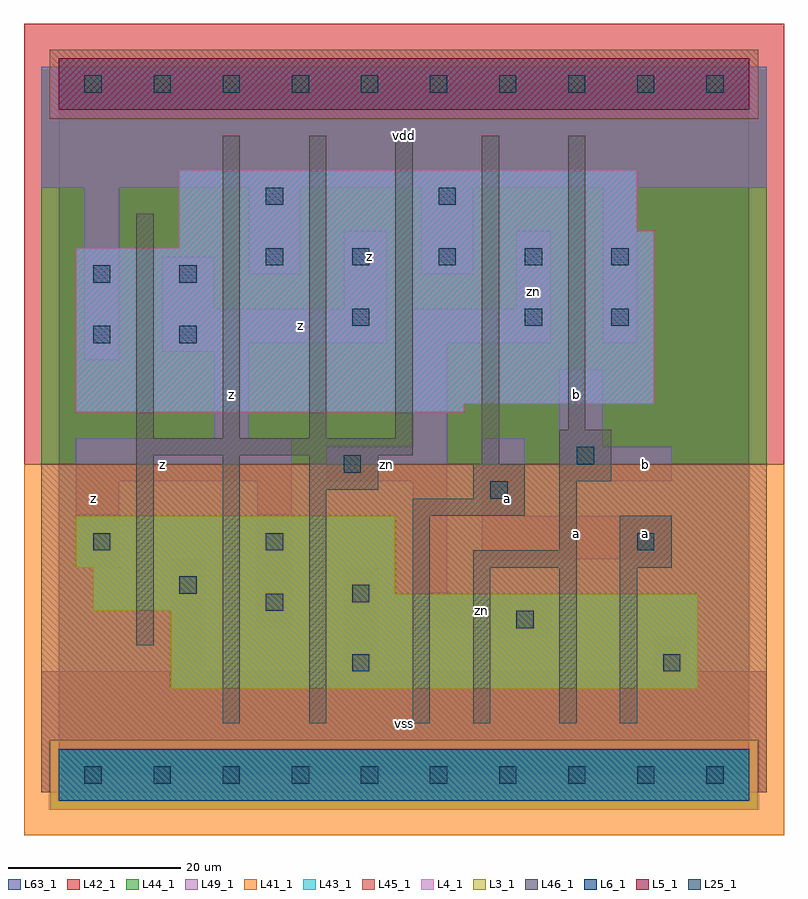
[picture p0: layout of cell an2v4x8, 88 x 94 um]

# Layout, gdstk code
import gdstk
lib = gdstk.Library(unit=1e-6, precision=1e-09)
def R(c, l, rs):  # rectangles x0, y0, x1, y1
    for r in rs: c.add(gdstk.rectangle(r[:2], r[2:], *l))
def A(c, l, x, y, w, h, nx, ny, dx, dy):  # array of equal rectangles
    R(c, l, [(x+i*dx, y+j*dy, x+i*dx+w, y+j*dy+h) for i in range(nx) for j in range(ny)])
L3_1 = (3, 1)
L4_1 = (4, 1)
L5_1 = (5, 1)
L6_1 = (6, 1)
L25_1 = (25, 1)
L41_1 = (41, 1)
L42_1 = (42, 1)
L43_1 = (43, 1)
L44_1 = (44, 1)
L45_1 = (45, 1)
L46_1 = (46, 1)
L49_1 = (49, 1)
L63_1 = (63, 1)

an2v4x8 = lib.new_cell('an2v4x8')
R(an2v4x8, L3_1, [(13,10,74,19), (4,19,74,21), (4,21,39,24), (2,24,39,30)])
R(an2v4x8, L4_1, [(2,42,47,43), (2,43,69,61), (14,61,69,63), (14,63,67,70)])
R(an2v4x8, L5_1, [(0,77,80,83)])
R(an2v4x8, L6_1, [(0,-3,80,3), (0,-3,80,3)])
A(an2v4x8, L25_1, 3, -1, 2, 2, 10, 2, 8, 80)
A(an2v4x8, L25_1, 24, 59, 2, 2, 5, 1, 10, 0)
R(an2v4x8, L25_1, [(34,12,36,14), (70,12,72,14), (53,17,55,19), (24,19,26,21), (34,20,36,22), (14,21,16,23), (4,26,6,28), (24,26,26,28), (67,26,69,28), (50,32,52,34), (33,35,35,37), (60,36,62,38), (4,50,6,52), (14,50,16,52), (34,52,36,54), (54,52,56,54), (64,52,66,54), (4,57,6,59), (14,57,16,59), (24,66,26,68), (44,66,46,68)])
R(an2v4x8, L41_1, [(-4,-7,84,36)])
R(an2v4x8, L42_1, [(-4,36,84,87)])
R(an2v4x8, L43_1, [(0,-3,80,3), (13,10,74,19), (4,19,74,21), (4,21,39,24), (2,24,39,30), (2,42,47,43), (2,43,69,61), (14,61,69,63), (14,63,67,70), (0,77,80,83)])
R(an2v4x8, L44_1, [(-1,-4,81,4), (-2,36,82,76), (-2,76,-1,82), (81,76,82,82)])
R(an2v4x8, L45_1, [(-2,-2,-1,4), (81,-2,82,4), (-2,4,82,36), (-1,76,81,84)])
A(an2v4x8, L46_1, 19, 39, 2, 35, 3, 1, 10, 0)
R(an2v4x8, L46_1, [(19,6,21,37), (29,6,31,33), (41,6,43,30), (48,6,50,24), (58,6,60,24), (65,6,67,24), (9,15,11,37), (48,24,60,26), (65,24,71,30), (58,26,60,34), (41,30,54,32), (48,32,54,36), (29,33,37,37), (58,34,64,40), (49,36,51,74), (9,37,41,39), (9,39,11,65), (59,40,61,74)])
R(an2v4x8, L49_1, [(-2,-2,82,12), (13,12,17,25), (33,12,37,24), (69,12,73,16), (51,16,57,17), (23,17,27,34), (41,17,57,21), (41,21,45,34), (2,24,7,34), (49,25,71,30), (49,30,54,39), (2,34,27,39), (31,34,45,38), (58,34,71,38), (41,38,45,50), (58,38,63,47), (18,39,22,49), (3,48,7,68), (12,49,22,50), (12,50,38,54), (41,50,57,54), (63,50,67,68), (12,54,18,60), (33,54,38,63), (53,54,57,63), (22,58,28,68), (42,58,48,68), (-2,68,82,82)])
R(an2v4x8, L63_1, [(0,0,80,80)])
an2v4x8.add(gdstk.Label('z', (4,32), layer=49, texttype=1))
an2v4x8.add(gdstk.Label('z', (12,36), layer=49, texttype=1))
an2v4x8.add(gdstk.Label('z', (20,44), layer=49, texttype=1))
an2v4x8.add(gdstk.Label('z', (28,52), layer=49, texttype=1))
an2v4x8.add(gdstk.Label('vss', (40,6), layer=49, texttype=1))
an2v4x8.add(gdstk.Label('zn', (38,36), layer=49, texttype=1))
an2v4x8.add(gdstk.Label('z', (36,60), layer=49, texttype=1))
an2v4x8.add(gdstk.Label('vdd', (40,74), layer=49, texttype=1))
an2v4x8.add(gdstk.Label('zn', (49,19), layer=49, texttype=1))
an2v4x8.add(gdstk.Label('a', (60,28), layer=49, texttype=1))
an2v4x8.add(gdstk.Label('a', (52,32), layer=49, texttype=1))
an2v4x8.add(gdstk.Label('b', (60,44), layer=49, texttype=1))
an2v4x8.add(gdstk.Label('zn', (55,56), layer=49, texttype=1))
an2v4x8.add(gdstk.Label('a', (68,28), layer=49, texttype=1))
an2v4x8.add(gdstk.Label('b', (68,36), layer=49, texttype=1))

lib.write_gds('an2v4x8.gds')
